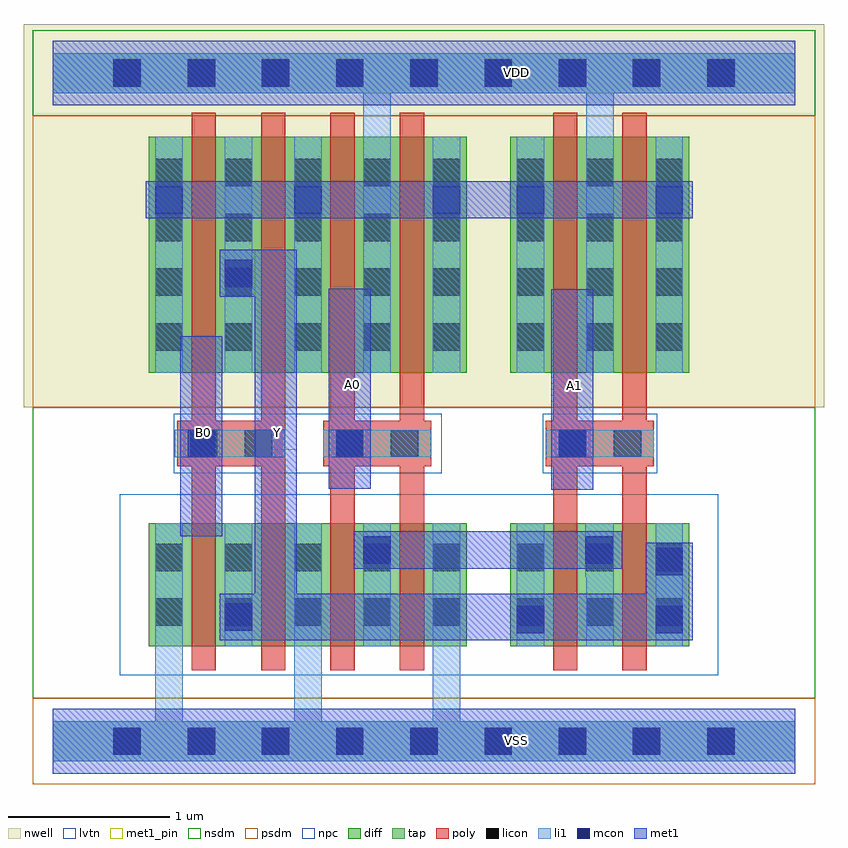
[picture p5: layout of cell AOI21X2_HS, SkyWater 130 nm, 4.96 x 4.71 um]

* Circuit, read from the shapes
.subckt AOI21X2_HS A0 A1 B0 VDD VSS Y
XM1 Y B0 VSS VSS sky130_fd_pr__nfet_01v8_lvt w=0.76 l=0.15 m=2
XM2 n1 A0 VSS VSS sky130_fd_pr__nfet_01v8_lvt w=0.76 l=0.15 m=2
XM3 n1 A1 Y VSS sky130_fd_pr__nfet_01v8_lvt w=0.76 l=0.15 m=2
XM4 Y B0 n2 VDD sky130_fd_pr__pfet_01v8 w=1.46 l=0.15 m=2
XM5 VDD A0 n2 VDD sky130_fd_pr__pfet_01v8 w=1.46 l=0.15 m=2
XM6 VDD A1 n2 VDD sky130_fd_pr__pfet_01v8 w=1.46 l=0.15 m=2
.ends

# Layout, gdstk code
from math import pi, radians
import gdstk
lib = gdstk.Library(unit=1e-6, precision=1e-09)
def R(c, l, rs):  # rectangles x0, y0, x1, y1
    for r in rs: c.add(gdstk.rectangle(r[:2], r[2:], *l))
def A(c, l, x, y, w, h, nx, ny, dx, dy):  # array of equal rectangles
    R(c, l, [(x+i*dx, y+j*dy, x+i*dx+w, y+j*dy+h) for i in range(nx) for j in range(ny)])
def P(c, l, *ps):  # polygons
    for p in ps: c.add(gdstk.Polygon(p, *l))
nwell = (64, 20)
diff = (65, 20)
tap = (65, 44)
poly = (66, 20)
licon = (66, 44)
li1 = (67, 20)
mcon = (67, 44)
met1_pin = (68, 16)
met1 = (68, 20)
nsdm = (93, 44)
psdm = (94, 20)
npc = (95, 20)
lvtn = (125, 44)

l1m1_c_cdns_752016586811 = lib.new_cell('L1M1_C_CDNS_7520165868110')
R(l1m1_c_cdns_752016586811, li1, [(-0.345,-0.085,0.345,0.085)])
R(l1m1_c_cdns_752016586811, mcon, [(-0.265,-0.085,-0.095,0.085), (0.095,-0.085,0.265,0.085)])
R(l1m1_c_cdns_752016586811, met1, [(-0.295,-0.145,0.295,0.145)])

c_l1m1_c_cdns_752016586811 = lib.new_cell('L1M1_C_CDNS_7520165868111')
R(c_l1m1_c_cdns_752016586811, li1, [(-0.165,-0.085,0.165,0.085)])
R(c_l1m1_c_cdns_752016586811, mcon, [(-0.085,-0.085,0.085,0.085)])
R(c_l1m1_c_cdns_752016586811, met1, [(-0.145,-0.115,0.145,0.115)])

c_l1m1_c_cdns_752016586811_ = lib.new_cell('L1M1_C_CDNS_752016586811')
R(c_l1m1_c_cdns_752016586811_, li1, [(-0.165,-0.085,0.165,0.085)])
R(c_l1m1_c_cdns_752016586811_, mcon, [(-0.085,-0.085,0.085,0.085)])
R(c_l1m1_c_cdns_752016586811_, met1, [(-0.115,-0.145,0.115,0.145)])

pyl1con_c_cdns_752016586 = lib.new_cell('PYL1CON_C_CDNS_752016586813')
R(pyl1con_c_cdns_752016586, poly, [(-0.135,-0.165,0.135,0.165)])
R(pyl1con_c_cdns_752016586, licon, [(-0.085,-0.085,0.085,0.085)])
R(pyl1con_c_cdns_752016586, npc, [(-0.185,-0.185,0.185,0.185)])

aoi21x2_hs = lib.new_cell('AOI21X2_HS')
R(aoi21x2_hs, nwell, [(-0.18,2.07,4.78,4.445)])
R(aoi21x2_hs, diff, [(0.595,0.59,2.565,1.35), (2.835,0.59,3.945,1.35), (0.595,2.285,2.565,3.745), (2.835,2.285,3.945,3.745)])
P(aoi21x2_hs, poly, [(1.44,3.895),(1.29,3.895),(1.29,1.985),(1.01,1.985),(1.01,3.895),(0.86,3.895),(0.86,1.985),(0.77,1.985),(0.77,1.705),(0.86,1.705),(0.86,0.44),(1.01,0.44),(1.01,1.705),(1.29,1.705),(1.29,0.44),(1.44,0.44)],
  [(2.345,1.985),(2.3,1.985),(2.3,3.895),(2.15,3.895),(2.15,1.985),(1.87,1.985),(1.87,3.895),(1.72,3.895),(1.72,1.985),(1.675,1.985),(1.675,1.705),(1.72,1.705),(1.72,0.44),(1.87,0.44),(1.87,1.705),(2.15,1.705),(2.15,0.44),(2.3,0.44),(2.3,1.705),(2.345,1.705)],
  [(3.725,1.985),(3.68,1.985),(3.68,3.895),(3.53,3.895),(3.53,1.985),(3.25,1.985),(3.25,3.895),(3.1,3.895),(3.1,1.985),(3.055,1.985),(3.055,1.705),(3.1,1.705),(3.1,0.44),(3.25,0.44),(3.25,1.705),(3.53,1.705),(3.53,0.44),(3.68,0.44),(3.68,1.705),(3.725,1.705)])
A(aoi21x2_hs, licon, 0.375, -0.085, 0.17, 0.17, 9, 2, 0.46, 4.14)
A(aoi21x2_hs, licon, 0.635, 0.715, 0.17, 0.17, 5, 2, 0.43, 0.34)
A(aoi21x2_hs, licon, 2.875, 0.715, 0.17, 0.17, 3, 2, 0.43, 0.34)
A(aoi21x2_hs, licon, 0.635, 2.42, 0.17, 0.17, 5, 4, 0.43, 0.34)
A(aoi21x2_hs, licon, 2.875, 2.42, 0.17, 0.17, 3, 4, 0.43, 0.34)
A(aoi21x2_hs, li1, 2.875, 0.59, 0.17, 0.76, 3, 1, 0.43, 0)
A(aoi21x2_hs, li1, 0.635, 2.285, 0.17, 1.46, 3, 1, 0.43, 0)
R(aoi21x2_hs, li1, [(1.065,0.59,1.235,1.35), (1.925,0.59,2.095,1.35), (2.355,2.285,2.525,3.745), (2.875,2.285,3.045,3.745), (3.735,2.285,3.905,3.745)])
P(aoi21x2_hs, li1, [(4.6,4.265),(0,4.265),(0,4.015),(1.925,4.015),(1.925,2.285),(2.095,2.285),(2.095,4.015),(3.305,4.015),(3.305,2.285),(3.475,2.285),(3.475,4.015),(4.6,4.015)],
  [(4.6,0.125),(2.525,0.125),(2.525,1.35),(2.355,1.35),(2.355,0.125),(1.665,0.125),(1.665,1.35),(1.495,1.35),(1.495,0.125),(0.805,0.125),(0.805,1.35),(0.635,1.35),(0.635,0.125),(0,0.125),(0,-0.125),(4.6,-0.125)])
A(aoi21x2_hs, mcon, 0.375, -0.085, 0.17, 0.17, 9, 2, 0.46, 4.14)
R(aoi21x2_hs, met1_pin, [(0.79,1.27,1.05,2.51), (3.09,1.56,3.35,2.8), (1.71,1.565,1.97,2.805), (1.25,1.805,1.51,3.045)])
P(aoi21x2_hs, met1, [(3.965,0.915),(1.51,0.915),(1.51,3.045),(1.25,3.045),(1.25,0.915),(1.15,0.915),(1.15,0.625),(3.965,0.625)])
R(aoi21x2_hs, nsdm, [(-0.125,0.265,4.725,2.07), (-0.125,3.875,4.725,4.405)])
R(aoi21x2_hs, psdm, [(-0.125,-0.265,4.725,0.265), (-0.125,2.07,4.725,3.875)])
R(aoi21x2_hs, npc, [(0.75,1.66,2.41,2.03)])
R(aoi21x2_hs, lvtn, [(0.415,0.41,4.125,1.53)])
aoi21x2_hs.add(gdstk.FlexPath([(1.44,1.845),(0.77,1.845)], 0.17, ends="flush", simple_path=True, layer=67, datatype=20))  # li1
aoi21x2_hs.add(gdstk.FlexPath([(1.675,1.845),(2.345,1.845)], 0.17, ends="flush", simple_path=True, layer=67, datatype=20))  # li1
aoi21x2_hs.add(gdstk.FlexPath([(3.055,1.845),(3.725,1.845)], 0.17, ends="flush", simple_path=True, layer=67, datatype=20))  # li1
aoi21x2_hs.add(gdstk.FlexPath([(0,4.14),(4.6,4.14)], 0.25, ends="flush", simple_path=True, layer=65, datatype=44))  # tap
aoi21x2_hs.add(gdstk.FlexPath([(0,0),(4.6,0)], 0.25, ends="flush", simple_path=True, layer=65, datatype=44))  # tap
aoi21x2_hs.add(gdstk.FlexPath([(0,4.14),(4.6,4.14)], 0.4, ends="flush", simple_path=True, layer=68, datatype=20))  # met1
aoi21x2_hs.add(gdstk.FlexPath([(0,0),(4.6,0)], 0.4, ends="flush", simple_path=True, layer=68, datatype=20))  # met1
aoi21x2_hs.add(gdstk.FlexPath([(1.84,2.805),(1.84,1.565)], 0.26, ends="flush", simple_path=True, layer=68, datatype=20))  # met1
aoi21x2_hs.add(gdstk.FlexPath([(0.92,2.51),(0.92,1.27)], 0.26, ends="flush", simple_path=True, layer=68, datatype=20))  # met1
aoi21x2_hs.add(gdstk.FlexPath([(3.22,2.8),(3.22,1.56)], 0.26, ends="flush", simple_path=True, layer=68, datatype=20))  # met1
aoi21x2_hs.add(gdstk.FlexPath([(0.72,3.355),(3.82,3.355)], 0.23, ends="flush", simple_path=True, layer=68, datatype=20))  # met1
aoi21x2_hs.add(gdstk.FlexPath([(3.415,1.185),(2.01,1.185)], 0.23, ends=(0.115, 0), simple_path=True, layer=68, datatype=20))  # met1
aoi21x2_hs.add(gdstk.FlexPath([(0,4.14),(4.6,4.14)], 0.4, ends="flush", simple_path=True, layer=68, datatype=16))  # met1_pin
aoi21x2_hs.add(gdstk.FlexPath([(0,0),(4.6,0)], 0.4, ends="flush", simple_path=True, layer=68, datatype=16))  # met1_pin
aoi21x2_hs.add(gdstk.Reference(l1m1_c_cdns_752016586811, (3.82,0.935), rotation=pi/2))
aoi21x2_hs.add(gdstk.Reference(c_l1m1_c_cdns_752016586811, (1.15,2.9), rotation=pi/2))
aoi21x2_hs.add(gdstk.Reference(c_l1m1_c_cdns_752016586811, (1.15,0.77), rotation=pi/2))
aoi21x2_hs.add(gdstk.Reference(c_l1m1_c_cdns_752016586811_, (3.22,1.845)))
aoi21x2_hs.add(gdstk.Reference(c_l1m1_c_cdns_752016586811_, (2.01,1.185), rotation=pi/2))
aoi21x2_hs.add(gdstk.Reference(c_l1m1_c_cdns_752016586811_, (3.82,3.355), rotation=pi/2))
aoi21x2_hs.add(gdstk.Reference(c_l1m1_c_cdns_752016586811_, (2.96,3.355), rotation=pi/2))
aoi21x2_hs.add(gdstk.Reference(c_l1m1_c_cdns_752016586811_, (2.44,3.355), rotation=pi/2))
aoi21x2_hs.add(gdstk.Reference(c_l1m1_c_cdns_752016586811_, (1.58,3.355), rotation=pi/2))
aoi21x2_hs.add(gdstk.Reference(c_l1m1_c_cdns_752016586811_, (0.72,3.355), rotation=pi/2))
aoi21x2_hs.add(gdstk.Reference(c_l1m1_c_cdns_752016586811_, (1.84,1.845)))
aoi21x2_hs.add(gdstk.Reference(c_l1m1_c_cdns_752016586811_, (3.385,1.185), rotation=pi/2))
aoi21x2_hs.add(gdstk.Reference(c_l1m1_c_cdns_752016586811_, (2.96,0.755), rotation=pi/2))
aoi21x2_hs.add(gdstk.Reference(c_l1m1_c_cdns_752016586811_, (0.92,1.845)))
aoi21x2_hs.add(gdstk.Reference(pyl1con_c_cdns_752016586, (1.84,1.845), rotation=3*pi/2, x_reflection=True))
aoi21x2_hs.add(gdstk.Reference(pyl1con_c_cdns_752016586, (2.18,1.845), rotation=3*pi/2, x_reflection=True))
aoi21x2_hs.add(gdstk.Reference(pyl1con_c_cdns_752016586, (1.275,1.845), rotation=3*pi/2))
aoi21x2_hs.add(gdstk.Reference(pyl1con_c_cdns_752016586, (3.22,1.845), rotation=3*pi/2, x_reflection=True))
aoi21x2_hs.add(gdstk.Reference(pyl1con_c_cdns_752016586, (3.56,1.845), rotation=3*pi/2, x_reflection=True))
aoi21x2_hs.add(gdstk.Reference(pyl1con_c_cdns_752016586, (0.935,1.845), rotation=3*pi/2))
aoi21x2_hs.add(gdstk.Label('VDD', (2.875,4.145), layer=68, texttype=5))
aoi21x2_hs.add(gdstk.Label('Y', (1.395,1.915), layer=68, texttype=5))
aoi21x2_hs.add(gdstk.Label('B0', (0.935,1.915), layer=68, texttype=5))
aoi21x2_hs.add(gdstk.Label('A1', (3.235,2.205), layer=68, texttype=5))
aoi21x2_hs.add(gdstk.Label('VSS', (2.875,0.005), layer=68, texttype=5))
aoi21x2_hs.add(gdstk.Label('A0', (1.855,2.21), layer=68, texttype=5))

lib.write_gds('AOI21X2_HS.gds')
